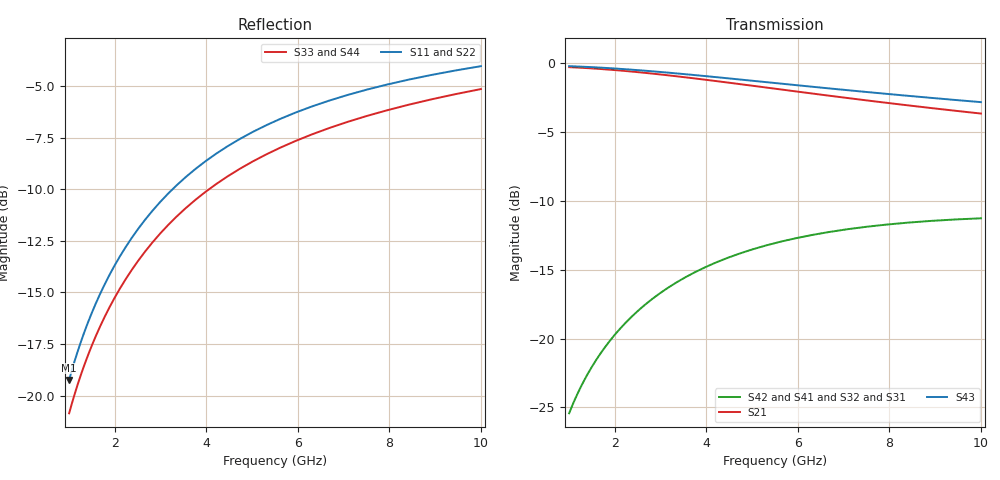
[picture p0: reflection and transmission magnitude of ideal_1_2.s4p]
! Synthetic ideal circuit; generated by generate_synthetic.py
# Hz S RI R 50
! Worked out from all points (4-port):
!   41 points, 1 GHz to 10 GHz, reference 50 ohm
!   strongest paths, dB at 1 GHz, 1.778 GHz, 3.162 GHz, 5.623 GHz, 10 GHz:
!     S43: -0.2, -0.4, -0.7, -1.5, -2.8
!     S21: -0.3, -0.5, -0.9, -1.9, -3.7
!     S42: -25.4, -20.7, -16.3, -13.0, -11.3
!     S41: -25.4, -20.7, -16.3, -13.0, -11.3
!     S32: -25.4, -20.7, -16.3, -13.0, -11.3
!     S31: -25.4, -20.7, -16.3, -13.0, -11.3
!   lowest |S11| = -19.2 dB at 1 GHz (marker M1), VSWR 1.25, Z = 53.1 + j10.9 ohm
!   |S11| at or under -10 dB: start of sweep to 3.26 GHz
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1e9  0.0405 0.1014  0.9595 -0.1089  0.0107 0.0525  -0.0107 -0.0525
     0.9595 -0.1089  0.0405 0.1014  -0.0107 -0.0525  0.0107 0.0525
     0.0107 0.0525  -0.0107 -0.0525  0.0308 0.0852  0.9692 -0.0928
     -0.0107 -0.0525  0.0107 0.0525  0.9692 -0.0928  0.0308 0.0852
1.496236e9  0.0576 0.1479  0.9424 -0.1592  0.0233 0.0754  -0.0233 -0.0754
            0.9424 -0.1592  0.0576 0.1479  -0.0233 -0.0754  0.0233 0.0754
            0.0233 0.0754  -0.0233 -0.0754  0.0439 0.1247  0.956 -0.136
            -0.0233 -0.0754  0.0233 0.0754  0.956 -0.136  0.0439 0.1247
2.113489e9  0.0862 0.2001  0.9137 -0.216  0.044 0.0993  -0.044 -0.0993
            0.9137 -0.216  0.0862 0.2001  -0.044 -0.0993  0.044 0.0993
            0.044 0.0993  -0.044 -0.0993  0.0661 0.1696  0.9338 -0.1855
            -0.044 -0.0993  0.044 0.0993  0.9338 -0.1855  0.0661 0.1696
2.985383e9  0.1363 0.2608  0.8635 -0.2833  0.0795 0.1225  -0.0795 -0.1225
            0.8635 -0.2833  0.1363 0.2608  -0.0795 -0.1225  0.0795 0.1225
            0.0795 0.1225  -0.0795 -0.1225  0.1051 0.2233  0.8947 -0.2458
            -0.0795 -0.1225  0.0795 0.1225  0.8947 -0.2458  0.1051 0.2233
3.981072e9  0.2001 0.3111  0.7994 -0.3412  0.1229 0.1338  -0.1229 -0.1338
            0.7994 -0.3412  0.2001 0.3111  -0.1229 -0.1338  0.1229 0.1338
            0.1229 0.1338  -0.1229 -0.1338  0.1554 0.2704  0.8442 -0.3004
            -0.1229 -0.1338  0.1229 0.1338  0.8442 -0.3004  0.1554 0.2704
6.309573e9  0.3437 0.3663  0.6552 -0.4138  0.2089 0.1133  -0.2089 -0.1133
            0.6552 -0.4138  0.3437 0.3663  -0.2089 -0.1133  0.2089 0.1133
            0.2089 0.1133  -0.2089 -0.1133  0.2723 0.3326  0.7266 -0.3801
            -0.2089 -0.1133  0.2089 0.1133  0.7266 -0.3801  0.2723 0.3326
1e10  0.5119 0.3652  0.4853 -0.4404  0.2716 0.0293  -0.2716 -0.0293
      0.4853 -0.4404  0.5119 0.3652  -0.2716 -0.0293  0.2716 0.0293
      0.2716 0.0293  -0.2716 -0.0293  0.4214 0.3586  0.5758 -0.4339
      -0.2716 -0.0293  0.2716 0.0293  0.5758 -0.4339  0.4214 0.3586
